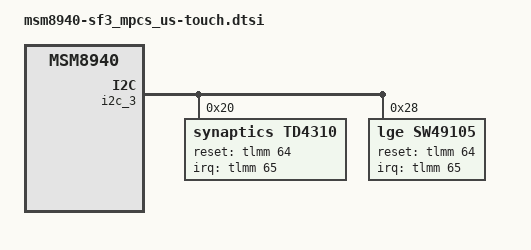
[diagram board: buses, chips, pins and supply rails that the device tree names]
/*
 * Copyright (c) 2016, The Linux Foundation. All rights reserved.
 *
 * This program is free software; you can redistribute it and/or modify
 * it under the terms of the GNU General Public License version 2 and
 * only version 2 as published by the Free Software Foundation.
 *
 * This program is distributed in the hope that it will be useful,
 * but WITHOUT ANY WARRANTY; without even the implied warranty of
 * MERCHANTABILITY or FITNESS FOR A PARTICULAR PURPOSE.  See the
 * GNU General Public License for more details.
 */

&i2c_3 { /* BLSP3 QUP1 */

	status = "okay";
	qcom,clk-freq-out = <400000>;

	synaptics@20 {
		compatible = "synaptics,TD4310";
		status = "okay";

		reg = <0x20>;
		interrupt-parent = <&tlmm>;
		/* IRQF_ONESHOT				0x00002000 */
		/* IRQF_TRIGGER_FALLING		0x00000002 */
		/* IRQF_NO_SUSPEND			0x00004000 */
		interrupts = <65 0x2002>;
		irqflags = <0x2002>;
		reset-gpio = <&tlmm 64 0x00>;
		irq-gpio = <&tlmm 65 0x2002>;

		pinctrl-names = "touch_pin_active", "touch_pin_sleep";	/* Touch GPIO pin name setting */
		pinctrl-0 = <&ts_int_active>;							/* Touch GPIO pin active setting */
		pinctrl-1 = <&ts_int_suspend>;							/* Touch GPIO pin suspend setting */

		/* Caps */
		max_x = <1080>;
		max_y = <1920>;
		max_pressure = <0xff>;
		max_width = <15>;
		max_orientation = <90>;
		max_id = <10>;
		hw_reset_delay = <200>;
		sw_reset_delay = <200>;

		/* Role */
		use_lpwg = <1>;
		use_lpwg_test = <1>;
		hide_coordinate = <0>;

		/* Firmware */
		use_fw_upgrade = <1>;
                use_fw_recovery = <1>;
		use_firmware = <0>;
		fw_image = "touch/sf3f/synaptics/PLG639-V0.12-PR2524934-DS5.12.4.1.1015-5005710C.img",
				   "touch/sf3f/synaptics/PLG639-V0.12-PR2524934-DS5.12.4.1.1015-5005710C-iHex.bin";
		panel_spec = "touch/sf3f/sf3f_limit.txt";
		panel_spec_mfts_folder = "touch/sf3f/sf3f_limit.txt";

		/* ASC */
		use_asc = <0>;
		low_delta_thres = <350>;
		high_delta_thres = <600>;
		max_delta_cnt = <2>;
	};

	sw49105@28 {
		compatible = "lge,sw49105";
		status = "okay";

		reg = <0x28>;
		interrupt-parent = <&tlmm>;
		/* IRQF_ONESHOT				0x00002000 */
		/* IRQF_TRIGGER_FALLING		0x00000002 */
		/* IRQF_NO_SUSPEND			0x00004000 */
		interrupts = <65 0x2002>;
		irqflags = <0x2002>;
		reset-gpio = <&tlmm 64 0x00>;
		irq-gpio = <&tlmm 65 0x2002>;

		pinctrl-names = "touch_pin_active", "touch_pin_sleep";	/*Touch GPIO pin name setting*/
		pinctrl-0 = <&ts_int_active &ts_reset_active>;			/*Touch GPIO pin active setting*/
		pinctrl-1 = <&ts_int_suspend &ts_reset_suspend>;		/*Touch GPIO pin suspend setting*/

		/* Caps */
		max_x = <1080>;
		max_y = <1920>;
		max_pressure = <0xff>;
		max_width = <15>;
		max_orientation = <1>;
		max_id = <10>;
		hw_reset_delay = <210>;
		sw_reset_delay = <90>;

		/* Role */
		use_lpwg = <1>;
		use_lpwg_test = <1>;
		hide_coordinate = <0>;

		/* Firmware */
		use_fw_upgrade = <1>;
		use_firmware = <0>;
		fw_image = "touch/sf3f/lgsic/L0W57SF6_0_01.img";
		panel_spec = "touch/sf3f/lgsic/sf3f_limit.txt";
		panel_spec_mfts_folder = "touch/sf3f/lgsic/sf3f_limit.txt";

		/* ASC */
		use_asc = <0>;
		low_delta_thres = <350>;
		high_delta_thres = <600>;
		max_delta_cnt = <2>;
	};
};
